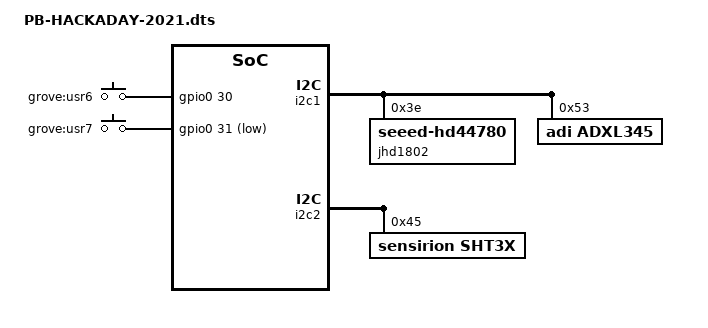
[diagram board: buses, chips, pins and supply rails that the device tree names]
// SPDX-License-Identifier: GPL-2.0-only
/*
 * Copyright (C) 2021 Robert Nelson <robercnelson@gmail.com>
 */

/dts-v1/;
/plugin/;

#include <dt-bindings/gpio/gpio.h>
#include <dt-bindings/pinctrl/am33xx.h>
#include <dt-bindings/interrupt-controller/irq.h>

/*
 * Helper to show loaded overlays under: /proc/device-tree/chosen/overlays/
 */
&{/chosen} {
	overlays {
		PB-HACKADAY-2021.kernel = __TIMESTAMP__;
	};
};

/*
 * Free up the pins used by the cape from the pinmux helpers.
 */
&ocp {
	P1_28_pinmux { status = "disabled"; };
	P1_26_pinmux { status = "disabled"; };
	P2_05_pinmux { status = "disabled"; };
	P2_07_pinmux { status = "disabled"; };
};

&am33xx_pinmux {
	i2c2_pins: pinmux-i2c2-pins {
		pinctrl-single,pins = <
			AM33XX_PADCONF(AM335X_PIN_UART1_RTSN, PIN_INPUT_PULLUP, MUX_MODE3)	/* (D17) uart1_rtsn.I2C2_SCL */
			AM33XX_PADCONF(AM335X_PIN_UART1_CTSN, PIN_INPUT_PULLUP, MUX_MODE3)	/* (D18) uart1_ctsn.I2C2_SDA */
		>;
	};

	grove_button_uart4_pins: pinmux_grove_button_uart4_pins {
		pinctrl-single,pins = <
			/* slot UART4 */
			AM33XX_IOPAD(0x0870, PIN_INPUT | MUX_MODE7)		/* gpmc_wait0.gpio0_30 */
			AM33XX_IOPAD(0x0874, PIN_INPUT | MUX_MODE7)		/* gpmc_wpn.gpio0_31 */
		>;
	};
};

&{/} {
	gpio_keys {
		compatible = "gpio-keys";
		pinctrl-names = "default";
		pinctrl-0 = <&grove_button_uart4_pins>;

		#address-cells = <1>;
		#size-cells = <0>;

		grove_button_uart4_0@6 {
			debounce_interval = <50>;
			linux,code = <0x106>;
			label = "grove:usr6";
			gpios = <&gpio0 30 0x0>;
			gpio-key,wakeup;
			autorepeat;
		};

		grove_button_uart4_1@7 {
			debounce_interval = <50>;
			linux,code = <0x107>;
			label = "grove:usr7";
			gpios = <&gpio0 31 0x1>;
			gpio-key,wakeup;
			autorepeat;
		};
	};
};

&i2c1 {
	#address-cells = <1>;
	#size-cells = <0>;

	jhd1802@3e {
		compatible = "seeed-hd44780";
		reg = <0x3e>;
		status = "okay";
	};

	adxl345@53 {
		compatible = "adi,adxl345";
		reg = <0x53>;
		status = "okay";
	};
};

&i2c2 {
	pinctrl-names = "default";
	pinctrl-0 = <&i2c2_pins>;

	#address-cells = <1>;
	#size-cells = <0>;

	sht3x@45 {
		compatible = "sensirion,sht3x";
		reg = <0x45>;
		status = "okay";
	};
};
